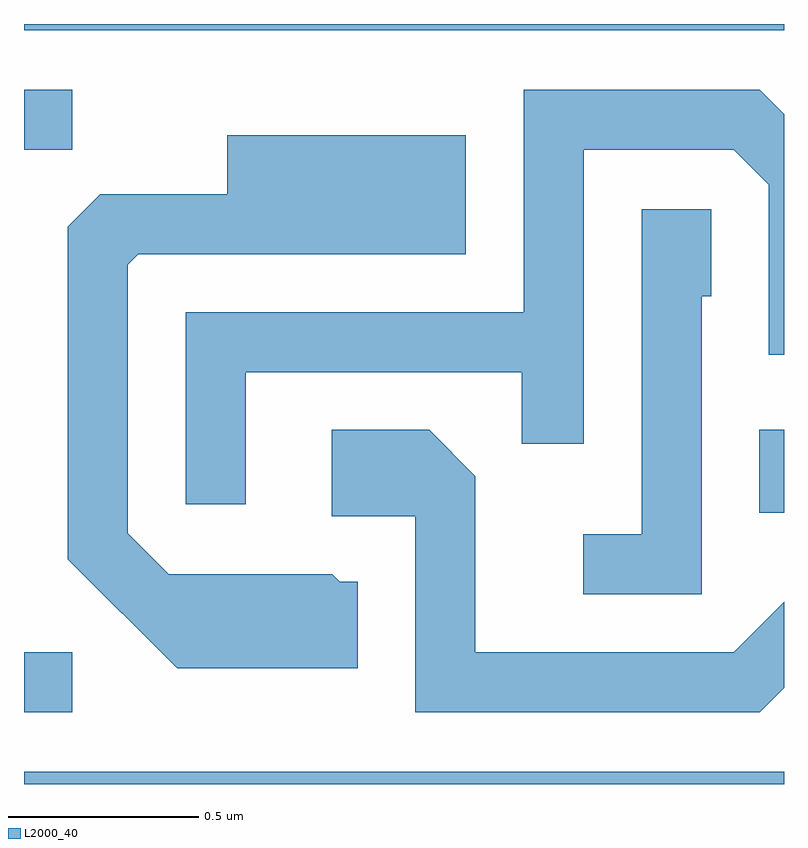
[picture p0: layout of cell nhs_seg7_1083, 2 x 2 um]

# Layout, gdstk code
import gdstk
lib = gdstk.Library(unit=1e-6, precision=1e-09)
def R(c, l, rs):  # rectangles x0, y0, x1, y1
    for r in rs: c.add(gdstk.rectangle(r[:2], r[2:], *l))
def P(c, l, *ps):  # polygons
    for p in ps: c.add(gdstk.Polygon(p, *l))
L2000_40 = (2000, 40)

nhs_seg7_1083 = lib.new_cell('nhs_seg7_1083')
R(nhs_seg7_1083, L2000_40, [(192.611,1792.252,194.611,1792.284), (192.611,1792.441,192.738,1792.599), (194.546,1792.966,194.611,1793.184), (192.611,1793.921,192.738,1794.079), (192.611,1794.236,194.611,1794.252)])
P(nhs_seg7_1083, L2000_40, [(193.194,1793.336),(193.921,1793.336),(193.921,1793.148),(194.084,1793.148),(194.084,1793.921),(194.479,1793.921),(194.571,1793.829),(194.571,1793.381),(194.611,1793.381),(194.611,1794.015),(194.547,1794.079),(193.926,1794.079),(193.926,1793.494),(193.036,1793.494),(193.036,1792.988),(193.194,1792.988)],
  [(193.489,1792.784),(193.442,1792.784),(193.422,1792.804),(192.992,1792.804),(192.884,1792.912),(192.884,1793.619),(192.912,1793.646),(193.774,1793.646),(193.774,1793.959),(193.146,1793.959),(193.146,1793.804),(192.812,1793.804),(192.726,1793.719),(192.726,1792.844),(193.014,1792.556),(193.489,1792.556)],
  [(194.394,1793.536),(194.419,1793.536),(194.419,1793.764),(194.236,1793.764),(194.236,1792.909),(194.083,1792.909),(194.083,1792.751),(194.394,1792.751)],
  [(194.611,1792.505),(194.611,1792.731),(194.479,1792.599),(193.799,1792.599),(193.799,1793.062),(193.677,1793.184),(193.421,1793.184),(193.421,1792.956),(193.641,1792.956),(193.641,1792.441),(194.547,1792.441)])

lib.write_gds('nhs_seg7_1083.gds')
